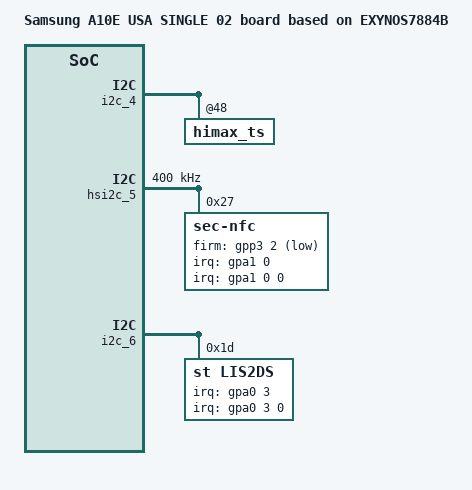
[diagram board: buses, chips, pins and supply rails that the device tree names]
/*
 * SAMSUNG EXYNOS7884B board device tree source

 *
 * Copyright (c) 2018 Samsung Electronics Co., Ltd.
 *		http://www.samsung.com
 *
 * This program is free software; you can redistribute it and/or modify
 * it under the terms of the GNU General Public License version 2 as
 * published by the Free Software Foundation.
*/

/dts-v1/;
/plugin/;

#include "exynos7884B-a10e_common.dtsi"
#include "exynos7884B-a10e_usa_single_gpio_02.dtsi"
#include "modem-s327ap-sipc-highmem.dtsi"

/ {
	compatible = "samsung,A10E USA SINGLE 02", "samsung,EXYNOS7884B";

	dtbo-hw_rev = <2>;
    dtbo-hw_rev_end = <255>;


	fragment@model {
		target-path = "/";
		__overlay__ {
			#address-cells = <2>;
			#size-cells = <1>;

			model = "Samsung A10E USA SINGLE 02 board based on EXYNOS7884B";
			fm@14840000 {
				/delete-property/ elna_gpio;
				elna_gpio = <&gpg0 2 0x1>; /* FM_LNA_EN */
				num-trfon-freq = <56>;
				val-trfon-freq = <87500 87600 88300 88400 89000 89100 89800 89900
					90600 90700 91300 91400 92100 92200 92900 93000 93600 93700
					94400 94500 95200 95300 96700 96800 97500 97600 98300 98400 99000 99800 99900 99100
					100000 100600 100700 101300 101400 101500 101600 102100 102200 102900 103000 103600
					103700 104000 104400 104500 105200 105300 105900 106000 106700 106800 107500 107600 >;
				spur-trfon-freq = <1536>;
			};

		}; /* end of __overlay__ */
	}; /* end of fragment */
}; /* end of root */

&i2c_4 {
	himax_ts@48 {
		status = "okay";
		himax,fw-path_al = "tsp_himax/hx83102d_a20e_al.fw"; /* path fw for AL IC */
		support_dual_fw = <1>;
	};
};

&pinctrl_0 { //11CB0000
	nfc_clk: nfc-clk {
		samsung,pins = "gpq0-0";
		samsung,pin-function = <2>;
		samsung,pin-pud = <0>;
	};

	nfc_int: nfc-int {
		samsung,pins = "gpa1-0";
		samsung,pin-function = <0>;
		samsung,pin-pud = <1>;
	};
};

&pinctrl_3 { //139B0000
	nfc_pvdd_en: nfc_pvdd_en {
		samsung,pins = "gpp6-4";
		samsung,pin-function = <1>;
		samsung,pin-pud = <0>;
		samsung,pin-val = <0>;
		samsung,pin-con-pdn = <3>;
		samsung,pin-pud-pdn = <0>;
	};

	nfc_firm: nfc_firm {
		samsung,pins = "gpp3-2";
		samsung,pin-function = <1>;
		samsung,pin-pud = <0>;
		samsung,pin-val = <0>;
		samsung,pin-con-pdn = <3>;
		samsung,pin-pud-pdn = <0>;
	};

	nfc_pd: nfc_pd {
		samsung,pins = "gpp2-2";
		samsung,pin-function = <2>;
		samsung,pin-pud = <0>;
		samsung,pin-drv = <0>;
		samsung,pin-con-pdn = <3>;
		samsung,pin-pud-pdn = <0>;
	};

	nfc_clk_req: nfc_clk_req {
		samsung,pins = "gpp2-3";
		samsung,pin-function = <2>;
		samsung,pin-pud = <1>;
		samsung,pin-drv = <0>;
		samsung,pin-con-pdn = <3>;
		samsung,pin-pud-pdn = <0>;
	};
};

&hsi2c_5 {
	status = "okay";
	clock-frequency = <400000>;  /*   400 kHz  */
	sec-nfc@27{
		compatible = "sec-nfc";
		reg = <0x27>;

		interrupt-parent = <&gpa1>;
		interrupts = <0 0 0>;

		sec-nfc,nfc_pd = <&gpp2 2 0x2>;
		sec-nfc,firm-gpio = <&gpp3 2 1>;
		sec-nfc,irq-gpio = <&gpa1 0 0>;
		sec-nfc,nfc_clkreq = <&gpp2 3 0x2>;
		sec-nfc,pvdd_en = <&gpp6 4 1>;
		clkctrl-reg = <0x11C8600C>;

		pinctrl-names = "default";
		pinctrl-0 = <&nfc_pd &nfc_firm &nfc_int &nfc_clk &nfc_pvdd_en &nfc_clk_req>;
	};
};

&i2c_6 {
	status = "okay";
	#address-cells = <1>;
	#size-cells = <0>;
	samsung,i2c-sda-delay = <100>;
	samsung,i2c-max-bus-freq = <400000>;
	pinctrl-names = "default";
	pinctrl-0 = <&i2c6_bus>;

	lis2ds@1D {
		compatible = "st,lis2ds";
		reg = <0x1D>;
		pinctrl-names = "default";
		pinctrl-0 = <&acc_int>;
		interrupt-parent = <&gpa0>;
		interrupts = <3 0 0>;
		st,orientation = <2 1 1 1 2 1 1 1 0>;
		st,irq_gpio = <&gpa0 3 0x00>;
	};
};
